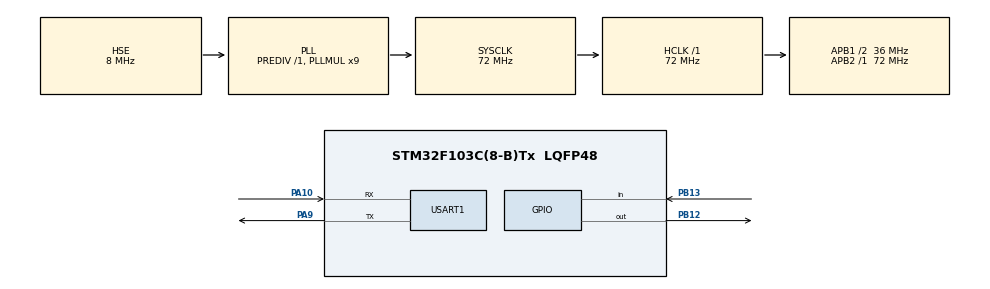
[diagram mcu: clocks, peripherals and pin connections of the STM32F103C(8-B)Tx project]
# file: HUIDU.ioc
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Mcu.Family=STM32F1
Mcu.Name=STM32F103C(8-B)Tx
Mcu.Package=LQFP48
NVIC.PriorityGroup=NVIC_PRIORITYGROUP_4
PA10.Mode=Asynchronous
PA10.Signal=USART1_RX
PA13.Mode=Serial_Wire
PA13.Signal=SYS_JTMS-SWDIO
PA14.Mode=Serial_Wire
PA14.Signal=SYS_JTCK-SWCLK
PA9.Mode=Asynchronous
PA9.Signal=USART1_TX
PB12.Signal=GPIO_Output
PB13.Signal=GPIO_Input
PD0-OSC_IN.Mode=HSE-External-Oscillator
PD0-OSC_IN.Signal=RCC_OSC_IN
PD1-OSC_OUT.Mode=HSE-External-Oscillator
PD1-OSC_OUT.Signal=RCC_OSC_OUT
ProjectManager.HeapSize=0x200
ProjectManager.StackSize=0x400
ProjectManager.TargetToolchain=MDK-ARM V5.32
RCC.AHBFreq_Value=72000000
RCC.APB1CLKDivider=RCC_HCLK_DIV2
RCC.APB1Freq_Value=36000000
RCC.APB1TimFreq_Value=72000000
RCC.APB2Freq_Value=72000000
RCC.APB2TimFreq_Value=72000000
RCC.HCLKFreq_Value=72000000
RCC.PLLMUL=RCC_PLL_MUL9
RCC.PLLSourceVirtual=RCC_PLLSOURCE_HSE
RCC.SYSCLKFreq_VALUE=72000000
RCC.SYSCLKSource=RCC_SYSCLKSOURCE_PLLCLK
RCC.USBFreq_Value=72000000
USART1.VirtualMode=VM_ASYNC
board=custom

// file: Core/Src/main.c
/* USER CODE BEGIN Header */
/**
  ******************************************************************************
  * @file           : main.c
  * @brief          : Main program body
  ******************************************************************************
  * @attention
  *
  * Copyright (c) 2023 STMicroelectronics.
  * All rights reserved.
  *
  * This software is licensed under terms that can be found in the LICENSE file
  * in the root directory of this software component.
  * If no LICENSE file comes with this software, it is provided AS-IS.
  *
  ******************************************************************************
  */
/* USER CODE END Header */
#include "main.h"
#include "usart.h"
#include "gpio.h"

void SystemClock_Config(void);

/* USER CODE BEGIN 0 */

static unsigned char gw_gray_serial_read_simple ()
 {
 unsigned char ret = 0;
 for (int i = 0; i < 8; ++i)
{
	ret <<= 1; // 右 移 位 ， 给 新 数 据 腾 位 置
		 // 输 出 时 钟 上 升 沿
	HAL_GPIO_WritePin(GPIOB, GPIO_PIN_12, GPIO_PIN_SET);
	 if(HAL_GPIO_ReadPin(GPIOB, GPIO_PIN_13)==SET)
	 {
		  ret |= 1;
	 }
	 else{
		 ret |= 0;
	 }
    // 输 出 时 钟 下 降 沿
    HAL_GPIO_WritePin(GPIOB, GPIO_PIN_12, GPIO_PIN_RESET);
 }
  return ret;
}

void Scanf(unsigned char ret)
{
	if((ret&0x18) == 0)
	{

	}
	else if((ret&0x30) == 0)
	{

	}
	else if((ret&0x0C) == 0)
	{

	}
}
/* USER CODE END 0 */

int main(void)
{

  /* MCU Configuration--------------------------------------------------------*/

  /* Reset of all peripherals, Initializes the Flash interface and the Systick. */
  HAL_Init();

  /* Configure the system clock */
  SystemClock_Config();

  /* Initialize all configured peripherals */
  MX_GPIO_Init();
  MX_USART1_UART_Init();
  /* USER CODE BEGIN 2 */
   unsigned char sensor_status = 0;
  /* USER CODE END 2 */

  /* Infinite loop */
  while (1)
  {

 // 读 取 传 感 器 串 行 输 出
 sensor_status = gw_gray_serial_read_simple ();
 // 把 读 取 到 的 传 感 器 数 据 打 印 到 公 屏 上
 for (int i = 0; i < 8; ++i) {
 // 获 取 第 N 位 bit
 printf("%d",( sensor_status >> i) & 0x1);
 printf(" ");
 }
    /* USER CODE BEGIN 3 */
   HAL_Delay(500);

  }
  /* USER CODE END 3 */
}

void SystemClock_Config(void)
{
  RCC_OscInitTypeDef RCC_OscInitStruct = {0};
  RCC_ClkInitTypeDef RCC_ClkInitStruct = {0};

  /** Initializes the RCC Oscillators according to the specified parameters
  * in the RCC_OscInitTypeDef structure.
  */
  RCC_OscInitStruct.OscillatorType = RCC_OSCILLATORTYPE_HSE;
  RCC_OscInitStruct.HSEState = RCC_HSE_ON;
  RCC_OscInitStruct.HSEPredivValue = RCC_HSE_PREDIV_DIV1;
  RCC_OscInitStruct.HSIState = RCC_HSI_ON;
  RCC_OscInitStruct.PLL.PLLState = RCC_PLL_ON;
  RCC_OscInitStruct.PLL.PLLSource = RCC_PLLSOURCE_HSE;
  RCC_OscInitStruct.PLL.PLLMUL = RCC_PLL_MUL9;
  if (HAL_RCC_OscConfig(&RCC_OscInitStruct) != HAL_OK)
  {
    Error_Handler();
  }
  /** Initializes the CPU, AHB and APB buses clocks
  */
  RCC_ClkInitStruct.ClockType = RCC_CLOCKTYPE_HCLK|RCC_CLOCKTYPE_SYSCLK
                              |RCC_CLOCKTYPE_PCLK1|RCC_CLOCKTYPE_PCLK2;
  RCC_ClkInitStruct.SYSCLKSource = RCC_SYSCLKSOURCE_PLLCLK;
  RCC_ClkInitStruct.AHBCLKDivider = RCC_SYSCLK_DIV1;
  RCC_ClkInitStruct.APB1CLKDivider = RCC_HCLK_DIV2;
  RCC_ClkInitStruct.APB2CLKDivider = RCC_HCLK_DIV1;

  if (HAL_RCC_ClockConfig(&RCC_ClkInitStruct, FLASH_LATENCY_2) != HAL_OK)
  {
    Error_Handler();
  }
}

void Error_Handler(void)
{
  __disable_irq();
  while (1)
  {
  }
}
